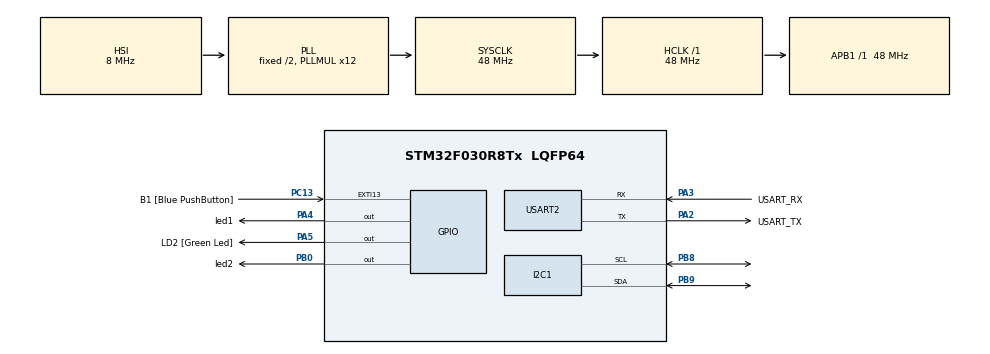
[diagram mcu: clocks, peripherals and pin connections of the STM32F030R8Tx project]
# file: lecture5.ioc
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Dma.Request0=USART2_RX
Dma.USART2_RX.0.Direction=DMA_PERIPH_TO_MEMORY
Dma.USART2_RX.0.Instance=DMA1_Channel5
Dma.USART2_RX.0.MemDataAlignment=DMA_MDATAALIGN_BYTE
Dma.USART2_RX.0.MemInc=DMA_MINC_ENABLE
Dma.USART2_RX.0.Mode=DMA_NORMAL
Dma.USART2_RX.0.PeriphDataAlignment=DMA_PDATAALIGN_BYTE
Dma.USART2_RX.0.PeriphInc=DMA_PINC_DISABLE
Dma.USART2_RX.0.Priority=DMA_PRIORITY_LOW
I2C1.Timing=0x00201D2B
Mcu.Family=STM32F0
Mcu.Name=STM32F030R8Tx
Mcu.Package=LQFP64
NVIC.DMA1_Channel4_5_IRQn=true\:0\:0\:false\:false\:true\:false\:true\:true
PA13.GPIO_Label=TMS
PA13.Mode=Serial_Wire
PA13.Signal=SYS_SWDIO
PA14.GPIO_Label=TCK
PA14.Mode=Serial_Wire
PA14.Signal=SYS_SWCLK
PA2.GPIO_Label=USART_TX
PA2.GPIO_Mode=GPIO_MODE_AF_PP
PA2.GPIO_PuPd=GPIO_NOPULL
PA2.GPIO_Speed=GPIO_SPEED_FREQ_LOW
PA2.Mode=Asynchronous
PA2.Signal=USART2_TX
PA3.GPIO_Label=USART_RX
PA3.GPIO_Mode=GPIO_MODE_AF_PP
PA3.GPIO_PuPd=GPIO_NOPULL
PA3.GPIO_Speed=GPIO_SPEED_FREQ_LOW
PA3.Mode=Asynchronous
PA3.Signal=USART2_RX
PA4.GPIO_Label=led1
PA4.Signal=GPIO_Output
PA5.GPIO_Label=LD2 [Green Led]
PA5.GPIO_Mode=GPIO_MODE_OUTPUT_PP
PA5.GPIO_PuPd=GPIO_NOPULL
PA5.GPIO_Speed=GPIO_SPEED_FREQ_LOW
PA5.Signal=GPIO_Output
PB0.GPIO_Label=led2
PB0.Signal=GPIO_Output
PB8.Mode=I2C
PB8.Signal=I2C1_SCL
PB9.Mode=I2C
PB9.Signal=I2C1_SDA
PC13.GPIO_Label=B1 [Blue PushButton]
PC13.GPIO_ModeDefaultEXTI=GPIO_MODE_IT_FALLING
PC13.Signal=GPXTI13
PC14-OSC32_IN.Mode=LSE-External-Oscillator
PC14-OSC32_IN.Signal=RCC_OSC32_IN
PC15-OSC32_OUT.Mode=LSE-External-Oscillator
PC15-OSC32_OUT.Signal=RCC_OSC32_OUT
PF0-OSC_IN.Mode=HSE-External-Clock-Source
PF0-OSC_IN.Signal=RCC_OSC_IN
PF1-OSC_OUT.Signal=RCC_OSC_OUT
ProjectManager.HeapSize=0x200
ProjectManager.StackSize=0x400
ProjectManager.TargetToolchain=STM32CubeIDE
RCC.AHBFreq_Value=48000000
RCC.APB1Freq_Value=48000000
RCC.APB1TimFreq_Value=48000000
RCC.HCLKFreq_Value=48000000
RCC.PLLMUL=RCC_PLL_MUL12
RCC.SYSCLKFreq_VALUE=48000000
RCC.SYSCLKSource=RCC_SYSCLKSOURCE_PLLCLK
USART2.VirtualMode-Asynchronous=VM_ASYNC
board=NUCLEO-F030R8

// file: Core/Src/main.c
/* USER CODE BEGIN Header */
/**
  ******************************************************************************
  * @file           : main.c
  * @brief          : Main program body
  ******************************************************************************
  * @attention
  *
  * Copyright (c) 2024 STMicroelectronics.
  * All rights reserved.
  *
  * This software is licensed under terms that can be found in the LICENSE file
  * in the root directory of this software component.
  * If no LICENSE file comes with this software, it is provided AS-IS.
  *
  ******************************************************************************
  */
/* USER CODE END Header */
#include "main.h"

/* USER CODE BEGIN Includes */
#include <stdio.h>
#include <string.h>
#include <stdlib.h>
/* USER CODE END Includes */

/* USER CODE BEGIN PD */
#define RX_BUF_LEN 64
#define CMD_BUF_LEN 256
#define uart_rx_write_ptr (RX_BUF_LEN - hdma_usart2_rx.Instance->CNDTR)
#define EEPROM_ADDR 0xA0
/* USER CODE END PD */

I2C_HandleTypeDef hi2c1;

UART_HandleTypeDef huart2;
DMA_HandleTypeDef hdma_usart2_rx;

/* USER CODE BEGIN PV */
static uint8_t uart_rx_buf[RX_BUF_LEN];
static volatile uint16_t uart_rx_read_ptr = 0;
/* USER CODE END PV */

void SystemClock_Config(void);
static void MX_GPIO_Init(void);
static void MX_DMA_Init(void);
static void MX_USART2_UART_Init(void);
static void MX_I2C1_Init(void);

/* USER CODE BEGIN 0 */
int _write(int file, char const *buf, int n) {
	HAL_UART_Transmit(&huart2, (uint8_t *)buf, n, HAL_MAX_DELAY);
	return n;
}

static void uart_process_command(const char* data) {
	//printf("received: '%s'\n", data);
	char *token;
	token = strtok(data, " ");

	if(strcasecmp(token, "HELLO") == 0) {
		printf("Welcome to the UART\n");
	}
	else if (strcasecmp(token, "LED1") == 0) {
		token = strtok(NULL, " ");
		if (strcasecmp(token, "ON") == 0){
			HAL_GPIO_WritePin(led1_GPIO_Port, led1_Pin, 1);
		}
		else if(strcasecmp(token, "OFF") == 0){
			HAL_GPIO_WritePin(led1_GPIO_Port, led1_Pin, 0);;
		}
		printf("OK\n");
	}
	else if (strcasecmp(token, "LED2") == 0) {
		token = strtok(NULL, " ");
		if (strcasecmp(token, "ON") == 0){
			HAL_GPIO_WritePin(led2_GPIO_Port, led2_Pin, 1);
		}
		else if(strcasecmp(token, "OFF") == 0){
			HAL_GPIO_WritePin(led2_GPIO_Port, led2_Pin, 0);
		}
		printf("OK\n");
		}
	else if(strcasecmp(token, "STATUS") == 0) {
		printf("Led 1 state: '%d'\n", HAL_GPIO_ReadPin(led1_GPIO_Port, led1_Pin));
		printf("Led 2 state: '%d'\n", HAL_GPIO_ReadPin(led2_GPIO_Port, led2_Pin));
	}
	else if(strcasecmp(token, "READ") == 0) {
		token = strtok(NULL, " ");
		uint8_t value;
		uint16_t addr = atoi(token);

		HAL_I2C_Mem_Read(&hi2c1, EEPROM_ADDR, addr,  I2C_MEMADD_SIZE_16BIT, &value, sizeof(value), 1000);

		printf("Addr 0x%02X: 0x%02X\n", addr, value);
	}
	else if(strcasecmp(token,"WRITE") == 0) {
		token = strtok(NULL, " ");
		uint16_t addr = atoi(token);

		char *val = strtok(NULL, " ");
		uint8_t value = atoi(val);

		HAL_I2C_Mem_Write(&hi2c1, EEPROM_ADDR, addr, I2C_MEMADD_SIZE_16BIT, &value, sizeof(value), 1000);

		printf("OK\n");
	}
	else if(strcasecmp(token,"DUMP") == 0) {
		uint8_t value;
		uint16_t addr = 0x0000;

		for (uint8_t i = 0; i <= 15; i++) {
		HAL_I2C_Mem_Read(&hi2c1, EEPROM_ADDR, addr,  I2C_MEMADD_SIZE_16BIT, &value, sizeof(value), 1000);
		printf("%02X ",value);
		addr++;
		if (i == 7 ) {
			printf("\n");
		}
		}
		printf("\n");
	}
	else {
		printf("Wrong declaration\n");
	}
}

static void uart_byte_available(uint8_t c) {
	static uint16_t cnt;
	static char data[CMD_BUF_LEN];

	if (cnt < CMD_BUF_LEN && c>= 32 && c <= 126) data[cnt++] = c;
	if ((c == '\n' || c == '\r') && cnt > 0) {
		data[cnt] = '\0';
		uart_process_command(data);
		cnt = 0;
	}
	}

/* USER CODE END 0 */

int main(void)
{

  /* MCU Configuration--------------------------------------------------------*/

  /* Reset of all peripherals, Initializes the Flash interface and the Systick. */
  HAL_Init();

  /* Configure the system clock */
  SystemClock_Config();

  /* Initialize all configured peripherals */
  MX_GPIO_Init();
  MX_DMA_Init();
  MX_USART2_UART_Init();
  MX_I2C1_Init();
  /* USER CODE BEGIN 2 */

  HAL_UART_Receive_DMA(&huart2, uart_rx_buf, RX_BUF_LEN);
  /* USER CODE END 2 */

  /* Infinite loop */
  /* USER CODE BEGIN WHILE */
  while (1)
  {
	  /*uint8_t c = 0;
	  HAL_UART_Receive(&huart2, &c, sizeof(c), HAL_MAX_DELAY);
	  HAL_UART_Transmit(&huart2, &c, sizeof(c), HAL_MAX_DELAY);*/

	  while (uart_rx_read_ptr != uart_rx_write_ptr) {
		  uint8_t b = uart_rx_buf[uart_rx_read_ptr];

		  if (++uart_rx_read_ptr >= RX_BUF_LEN) uart_rx_read_ptr = 0;

		  uart_byte_available(b);
	  }

    /* USER CODE END WHILE */

  }
}

void SystemClock_Config(void)
{
  RCC_OscInitTypeDef RCC_OscInitStruct = {0};
  RCC_ClkInitTypeDef RCC_ClkInitStruct = {0};
  RCC_PeriphCLKInitTypeDef PeriphClkInit = {0};

  /** Initializes the RCC Oscillators according to the specified parameters
  * in the RCC_OscInitTypeDef structure.
  */
  RCC_OscInitStruct.OscillatorType = RCC_OSCILLATORTYPE_HSI;
  RCC_OscInitStruct.HSIState = RCC_HSI_ON;
  RCC_OscInitStruct.HSICalibrationValue = RCC_HSICALIBRATION_DEFAULT;
  RCC_OscInitStruct.PLL.PLLState = RCC_PLL_ON;
  RCC_OscInitStruct.PLL.PLLSource = RCC_PLLSOURCE_HSI;
  RCC_OscInitStruct.PLL.PLLMUL = RCC_PLL_MUL12;
  RCC_OscInitStruct.PLL.PREDIV = RCC_PREDIV_DIV1;
  if (HAL_RCC_OscConfig(&RCC_OscInitStruct) != HAL_OK)
  {
    Error_Handler();
  }

  /** Initializes the CPU, AHB and APB buses clocks
  */
  RCC_ClkInitStruct.ClockType = RCC_CLOCKTYPE_HCLK|RCC_CLOCKTYPE_SYSCLK
                              |RCC_CLOCKTYPE_PCLK1;
  RCC_ClkInitStruct.SYSCLKSource = RCC_SYSCLKSOURCE_PLLCLK;
  RCC_ClkInitStruct.AHBCLKDivider = RCC_SYSCLK_DIV1;
  RCC_ClkInitStruct.APB1CLKDivider = RCC_HCLK_DIV1;

  if (HAL_RCC_ClockConfig(&RCC_ClkInitStruct, FLASH_LATENCY_1) != HAL_OK)
  {
    Error_Handler();
  }
  PeriphClkInit.PeriphClockSelection = RCC_PERIPHCLK_I2C1;
  PeriphClkInit.I2c1ClockSelection = RCC_I2C1CLKSOURCE_HSI;
  if (HAL_RCCEx_PeriphCLKConfig(&PeriphClkInit) != HAL_OK)
  {
    Error_Handler();
  }
}

static void MX_I2C1_Init(void)
{

  hi2c1.Instance = I2C1;
  hi2c1.Init.Timing = 0x00201D2B;
  hi2c1.Init.OwnAddress1 = 0;
  hi2c1.Init.AddressingMode = I2C_ADDRESSINGMODE_7BIT;
  hi2c1.Init.DualAddressMode = I2C_DUALADDRESS_DISABLE;
  hi2c1.Init.OwnAddress2 = 0;
  hi2c1.Init.OwnAddress2Masks = I2C_OA2_NOMASK;
  hi2c1.Init.GeneralCallMode = I2C_GENERALCALL_DISABLE;
  hi2c1.Init.NoStretchMode = I2C_NOSTRETCH_DISABLE;
  if (HAL_I2C_Init(&hi2c1) != HAL_OK)
  {
    Error_Handler();
  }

  /** Configure Analogue filter
  */
  if (HAL_I2CEx_ConfigAnalogFilter(&hi2c1, I2C_ANALOGFILTER_ENABLE) != HAL_OK)
  {
    Error_Handler();
  }

  /** Configure Digital filter
  */
  if (HAL_I2CEx_ConfigDigitalFilter(&hi2c1, 0) != HAL_OK)
  {
    Error_Handler();
  }

}

static void MX_USART2_UART_Init(void)
{

  huart2.Instance = USART2;
  huart2.Init.BaudRate = 38400;
  huart2.Init.WordLength = UART_WORDLENGTH_8B;
  huart2.Init.StopBits = UART_STOPBITS_1;
  huart2.Init.Parity = UART_PARITY_NONE;
  huart2.Init.Mode = UART_MODE_TX_RX;
  huart2.Init.HwFlowCtl = UART_HWCONTROL_NONE;
  huart2.Init.OverSampling = UART_OVERSAMPLING_16;
  huart2.Init.OneBitSampling = UART_ONE_BIT_SAMPLE_DISABLE;
  huart2.AdvancedInit.AdvFeatureInit = UART_ADVFEATURE_NO_INIT;
  if (HAL_UART_Init(&huart2) != HAL_OK)
  {
    Error_Handler();
  }

}

static void MX_DMA_Init(void)
{

  /* DMA controller clock enable */
  __HAL_RCC_DMA1_CLK_ENABLE();

  /* DMA interrupt init */
  /* DMA1_Channel4_5_IRQn interrupt configuration */
  HAL_NVIC_SetPriority(DMA1_Channel4_5_IRQn, 0, 0);
  HAL_NVIC_EnableIRQ(DMA1_Channel4_5_IRQn);

}

static void MX_GPIO_Init(void)
{
  GPIO_InitTypeDef GPIO_InitStruct = {0};

  /* GPIO Ports Clock Enable */
  __HAL_RCC_GPIOC_CLK_ENABLE();
  __HAL_RCC_GPIOF_CLK_ENABLE();
  __HAL_RCC_GPIOA_CLK_ENABLE();
  __HAL_RCC_GPIOB_CLK_ENABLE();

  /*Configure GPIO pin Output Level */
  HAL_GPIO_WritePin(GPIOA, led1_Pin|LD2_Pin, GPIO_PIN_RESET);

  /*Configure GPIO pin Output Level */
  HAL_GPIO_WritePin(led2_GPIO_Port, led2_Pin, GPIO_PIN_RESET);

  /*Configure GPIO pin : B1_Pin */
  GPIO_InitStruct.Pin = B1_Pin;
  GPIO_InitStruct.Mode = GPIO_MODE_IT_FALLING;
  GPIO_InitStruct.Pull = GPIO_NOPULL;
  HAL_GPIO_Init(B1_GPIO_Port, &GPIO_InitStruct);

  /*Configure GPIO pins : led1_Pin LD2_Pin */
  GPIO_InitStruct.Pin = led1_Pin|LD2_Pin;
  GPIO_InitStruct.Mode = GPIO_MODE_OUTPUT_PP;
  GPIO_InitStruct.Pull = GPIO_NOPULL;
  GPIO_InitStruct.Speed = GPIO_SPEED_FREQ_LOW;
  HAL_GPIO_Init(GPIOA, &GPIO_InitStruct);

  /*Configure GPIO pin : led2_Pin */
  GPIO_InitStruct.Pin = led2_Pin;
  GPIO_InitStruct.Mode = GPIO_MODE_OUTPUT_PP;
  GPIO_InitStruct.Pull = GPIO_NOPULL;
  GPIO_InitStruct.Speed = GPIO_SPEED_FREQ_LOW;
  HAL_GPIO_Init(led2_GPIO_Port, &GPIO_InitStruct);

}

void Error_Handler(void)
{
  __disable_irq();
  while (1)
  {
  }
}
